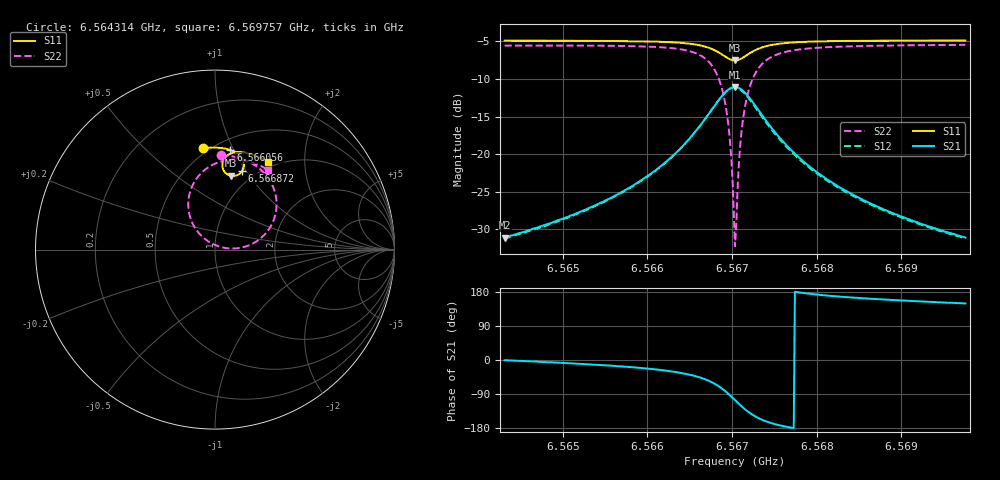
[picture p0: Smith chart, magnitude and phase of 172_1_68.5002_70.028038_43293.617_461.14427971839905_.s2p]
#  HZ  S  RI  R  50.00
! Rohde & Schwarz Vector Network Analyzer
! Rohde-Schwarz,ZNB20-2Port,1311601062101988,3.16
! Created: UTC 3/20/2024, 4:56:14 PM
! freq[Hz]  re:S11  im:S11  re:S21  im:S21  re:S12  im:S12  re:S22  im:S22
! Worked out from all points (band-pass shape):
!   401 points, 6.564314 GHz to 6.569757 GHz, reference 50 ohm
!   highest |S21| = -11.06 dB at 6.567036 GHz (marker M1); lowest = -31.1 dB at 6.564314 GHz (marker M2)
!   |S21| within 3 dB of the highest: 6.566763 GHz to 6.567308 GHz (545.4 kHz wide, 0.00831 % of centre)
!   lowest |S11| = -7.5 dB at 6.567036 GHz (marker M3), VSWR 2.45, Z = 41.1 + j41.1 ohm
!   |S11| at or under -10 dB: nowhere
!   |S22| runs from -32.2 to -5.4 dB; largest |S21 - S12| = 0.013
!   S11 on the Smith chart (normalised r, x): 6.564314 GHz: 0.46, +0.78; 6.566056 GHz: 0.60, +0.97; 6.566872 GHz: 0.86, +0.96; 6.569757 GHz: 0.91, +1.32
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6.5643141e9  -0.0658 0.5654  0.0279 -0.000378  0.0275 -0.00076  0.035 0.5268
6.5652258e9  0.00885 0.5679  0.0412 -0.00767  0.0404 -0.00815  0.1217 0.5135
6.5660559e9  0.0862 0.5551  0.0688 -0.0304  0.0678 -0.0311  0.2292 0.4653
6.5661376e9  0.0949 0.552  0.0735 -0.0355  0.0723 -0.0364  0.2431 0.4548
6.566437e9  0.1293 0.5328  0.0944 -0.068  0.093 -0.0693  0.302 0.3907
6.5666547e9  0.1546 0.5016  0.1081 -0.1224  0.1056 -0.1247  0.3409 0.2856
6.5667772e9  0.1611 0.4704  0.1004 -0.177  0.0961 -0.1802  0.3326 0.1814
6.5668724e9  0.152 0.4392  0.0676 -0.2307  0.0598 -0.2337  0.2733 0.0806
6.5669541e9  0.1265 0.4158  0.00691 -0.2682  -0.00426 -0.2682  0.1615 0.0147
6.5669813e9  0.1144 0.4115  -0.0197 -0.2738  -0.0315 -0.2721  0.1133 0.00644
6.5670221e9  0.0945 0.4102  -0.0622 -0.2725  -0.0741 -0.2676  0.0379 0.013
6.5670357e9  0.0877 0.4112  -0.0762 -0.2692  -0.0878 -0.2633  0.0133 0.0205
6.5670493e9  0.0812 0.4131  -0.0898 -0.2646  -0.101 -0.2577  -0.01 0.0303
6.5670629e9  0.075 0.4157  -0.1029 -0.2587  -0.1134 -0.2507  -0.0323 0.0423
6.5670901e9  0.0638 0.4228  -0.1266 -0.2434  -0.1357 -0.2338  -0.0715 0.0724
6.567131e9  0.0507 0.4368  -0.1543 -0.2145  -0.1607 -0.2034  -0.1153 0.1273
6.5671854e9  0.042 0.4583  -0.1754 -0.1715  -0.1782 -0.1603  -0.1447 0.205
6.5672534e9  0.0421 0.4835  -0.1813 -0.1224  -0.1809 -0.1125  -0.146 0.2911
6.567512e9  0.0814 0.5325  -0.1368 -0.0252  -0.1338 -0.0211  -0.044 0.4538
6.5679475e9  0.1421 0.5431  -0.0798 0.00848  -0.078 0.00977  0.0863 0.5
6.5688592e9  0.2268 0.5224  -0.0387 0.015  -0.0377 0.0153  0.2164 0.482
6.5697574e9  0.2932 0.4901  -0.024 0.0142  -0.0235 0.0143  0.295 0.4452
